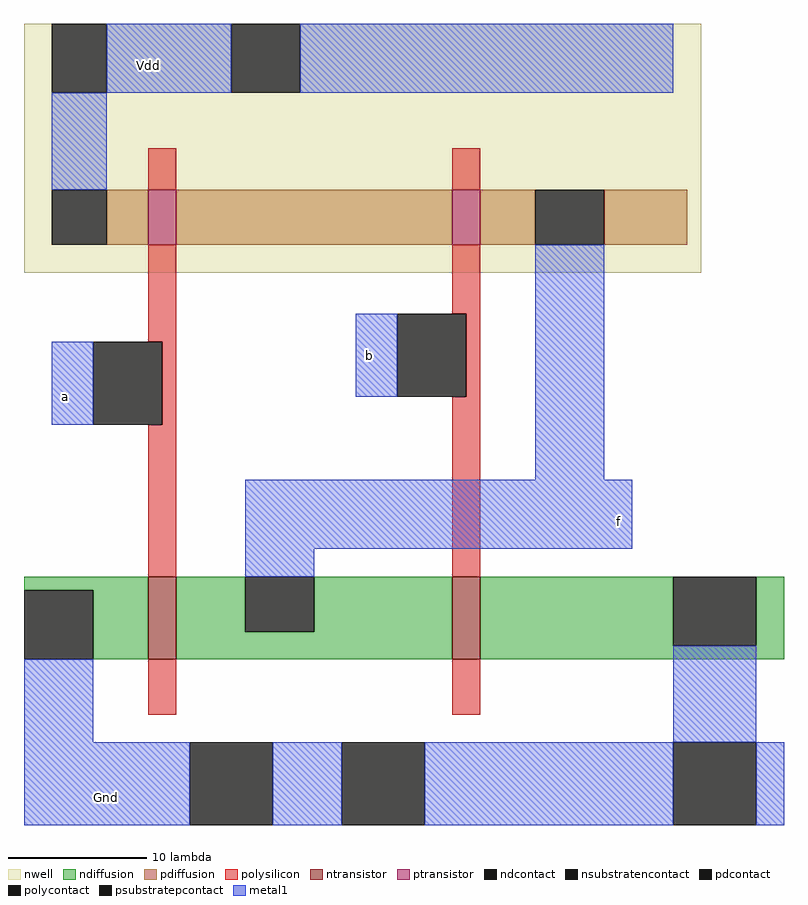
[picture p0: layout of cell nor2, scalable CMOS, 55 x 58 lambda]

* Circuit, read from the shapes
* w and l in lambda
.subckt nor2 Gnd Vdd a b f
M1 f a Gnd Gnd nfet w=6 l=2
M2 Gnd b f Gnd nfet w=6 l=2
M3 n1 a Vdd Vdd pfet w=4 l=2
M4 f b n1 Vdd pfet w=4 l=2
.ends

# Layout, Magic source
magic
tech scmos
<< nwell >>
rect -15 2 34 20
<< polysilicon >>
rect -6 8 -4 11
rect 16 8 18 11
rect -6 -3 -4 4
rect 16 -1 18 4
rect -5 -9 -4 -3
rect 17 -7 18 -1
rect -6 -20 -4 -9
rect 16 -20 18 -7
rect -6 -30 -4 -26
rect 16 -30 18 -26
<< ndiffusion >>
rect -15 -21 -6 -20
rect -10 -26 -6 -21
rect -4 -24 1 -20
rect 6 -24 16 -20
rect -4 -26 16 -24
rect 18 -25 32 -20
rect 38 -25 40 -20
rect 18 -26 40 -25
<< pdiffusion >>
rect -9 4 -6 8
rect -4 4 16 8
rect 18 4 22 8
rect 27 4 33 8
<< metal1 >>
rect -9 15 0 20
rect 5 15 32 20
rect -13 8 -9 15
rect -13 -9 -10 -3
rect 9 -7 12 -1
rect 22 -13 27 4
rect 1 -18 29 -13
rect 1 -20 6 -18
rect -15 -32 -10 -26
rect 32 -32 38 -25
rect -15 -38 -3 -32
rect 3 -38 8 -32
rect 14 -38 32 -32
rect 38 -38 40 -32
<< ntransistor >>
rect -6 -26 -4 -20
rect 16 -26 18 -20
<< ptransistor >>
rect -6 4 -4 8
rect 16 4 18 8
<< polycontact >>
rect -10 -9 -5 -3
rect 12 -7 17 -1
<< ndcontact >>
rect -15 -26 -10 -21
rect 1 -24 6 -20
rect 32 -25 38 -20
<< pdcontact >>
rect -13 4 -9 8
rect 22 4 27 8
<< psubstratepcontact >>
rect -3 -38 3 -32
rect 8 -38 14 -32
rect 32 -38 38 -32
<< nsubstratencontact >>
rect -13 15 -9 20
rect 0 15 5 20
<< labels >>
rlabel metal1 -12 -7 -12 -7 3 a
rlabel metal1 10 -4 10 -4 1 b
rlabel metal1 -9 -36 -9 -36 1 Gnd
rlabel metal1 28 -16 28 -16 1 f
rlabel metal1 -6 17 -6 17 5 Vdd
<< end >>
